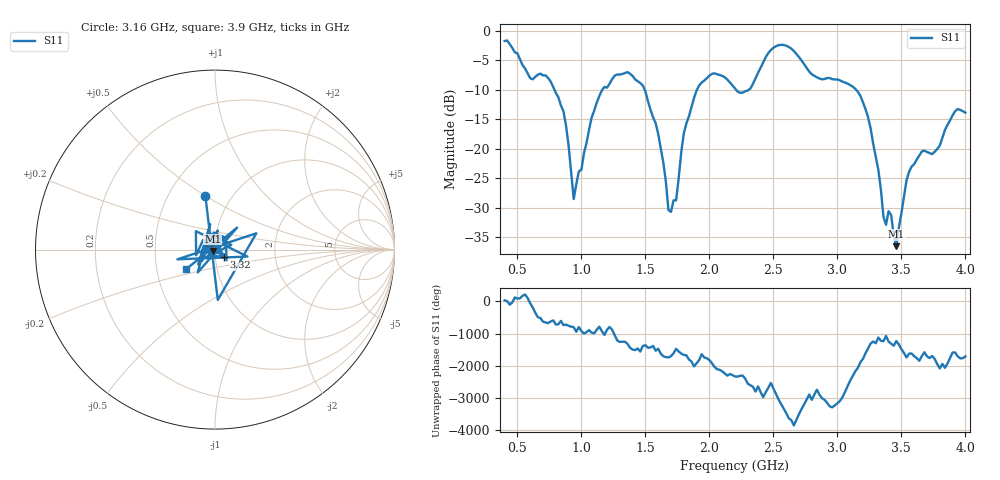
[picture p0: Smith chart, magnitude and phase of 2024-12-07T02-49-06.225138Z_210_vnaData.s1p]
!Created with skrf (http://scikit-rf.org).
# Hz S RI R 50.0
!freq ReS11 ImS11
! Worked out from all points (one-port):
!   181 points, 400 MHz to 4 GHz, reference 50 ohm
!   lowest |S11| = -36.5 dB at 3.46 GHz (marker M1), VSWR 1.03, Z = 48.7 - j0.697 ohm
!   |S11| at or under -10 dB: 789.7 MHz to 1.163 GHz (373.2 MHz wide, 38.2 % of centre); 1.495 GHz to 1.902 GHz (407.6 MHz wide, 24 % of centre); 3.147 GHz to end of sweep (the widest 3 of 4)
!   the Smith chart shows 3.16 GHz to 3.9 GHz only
!   S11 on the Smith chart (normalised r, x): 3.16 GHz: 0.76, +0.50; 3.32 GHz: 1.10, -0.10; 3.9 GHz: 0.71, -0.16
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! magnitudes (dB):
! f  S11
! 400 MHz  -1.7
! 600 MHz  -8.0
! 740 MHz  -8.0
! 860 MHz  -13.6
! 940 MHz  -28.5
! 1.12 GHz  -12.1
! 1.3 GHz  -7.4
! 1.5 GHz  -10.3
! 1.6 GHz  -17.5
! 1.68 GHz  -30.4
! 1.74 GHz  -28.7
! 1.76 GHz  -25.0
! 1.8 GHz  -17.4
! 1.92 GHz  -9.3
! 2.2 GHz  -9.7
! 2.32 GHz  -9.8
! 2.5 GHz  -2.9
! 2.66 GHz  -3.4
! 3.1 GHz  -9.2
! 3.16 GHz  -10.3
! 3.32 GHz  -23.6
! 3.36 GHz  -31.5
! 3.42 GHz  -31.2
! 3.46 GHz  -36.5
! 3.56 GHz  -23.9
! 3.78 GHz  -20.0
! 3.9 GHz  -14.3
! 4 GHz  -13.9
